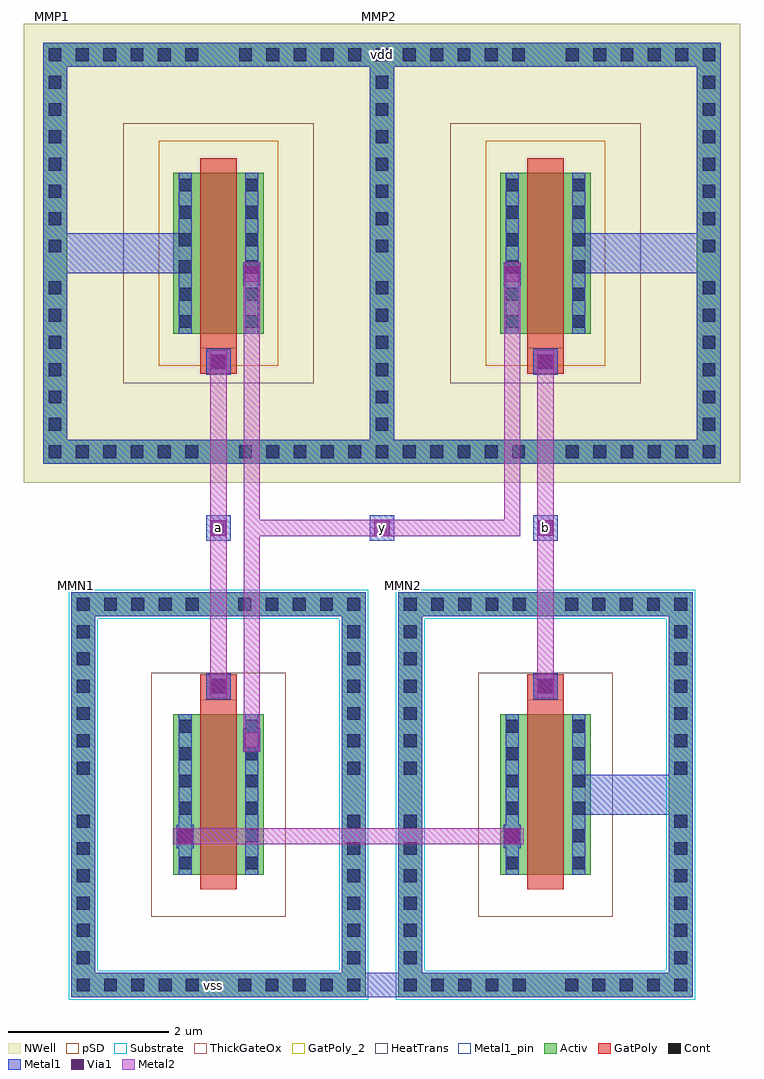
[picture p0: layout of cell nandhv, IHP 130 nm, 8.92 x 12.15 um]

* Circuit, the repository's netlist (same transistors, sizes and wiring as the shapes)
** sch_path: /foss/designs/Designs/bidir-level-shifter/xschem/logic_gates/NANDHV.sch
.subckt NANDHV a b y vdd vss
*.PININFO vdd:B vss:B y:B a:B b:B
MMP1 y a vdd vdd sg13_hv_pmos w=2.0u l=0.45u ng=1
MMP2 y b vdd vdd sg13_hv_pmos w=2.0u l=0.45u ng=1
MMN1 y a net1 vss sg13_hv_nmos w=2.0u l=0.45u ng=1
MMN2 net1 b vss vss sg13_hv_nmos w=2.0u l=0.45u ng=1
.ends

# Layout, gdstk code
import gdstk
lib = gdstk.Library(unit=1e-6, precision=1e-09)
def R(c, l, rs):  # rectangles x0, y0, x1, y1
    for r in rs: c.add(gdstk.rectangle(r[:2], r[2:], *l))
def A(c, l, x, y, w, h, nx, ny, dx, dy):  # array of equal rectangles
    R(c, l, [(x+i*dx, y+j*dy, x+i*dx+w, y+j*dy+h) for i in range(nx) for j in range(ny)])
def P(c, l, *ps):  # polygons
    for p in ps: c.add(gdstk.Polygon(p, *l))
Activ = (1, 0)
GatPoly = (5, 0)
GatPoly_2 = (5, 2)
Cont = (6, 0)
Metal1 = (8, 0)
Metal1_pin = (8, 2)
Metal2 = (10, 0)
pSD = (14, 0)
Via1 = (19, 0)
NWell = (31, 0)
Substrate = (40, 0)
ThickGateOx = (44, 0)
HeatTrans = (51, 0)

nmoshv = lib.new_cell('nmosHV')
R(nmoshv, Activ, [(-1.27,-1.22,-0.97,3.22), (2.1,-1.22,2.4,3.22), (0,0,0.3,0.3), (0,0,1.13,2), (0.83,0,1.13,0.3), (-1.27,3.22,2.4,3.52)])
P(nmoshv, Activ, [(-1.27,-1.52),(-1.27,3.22),(-0.97,3.22),(-0.97,-1.22),(2.1,-1.22),(2.1,3.22),(-1.27,3.22),(-1.27,3.52),(2.4,3.52),(2.4,-1.52)])
R(nmoshv, GatPoly, [(0.34,-0.18,0.79,2.18)])
R(nmoshv, GatPoly_2, [(0.34,-0.18,0.79,2.18)])
A(nmoshv, Cont, -1.2, -1.45, 0.16, 0.16, 5, 2, 0.34, 4.74)
A(nmoshv, Cont, 0.81, -1.45, 0.16, 0.16, 5, 2, 0.34, 4.74)
A(nmoshv, Cont, -1.2, -1.11, 0.16, 0.16, 1, 6, 0, 0.34)
A(nmoshv, Cont, 2.17, -1.11, 0.16, 0.16, 1, 6, 0, 0.34)
A(nmoshv, Cont, 0.07, 0.07, 0.16, 0.16, 1, 6, 0, 0.34)
A(nmoshv, Cont, 0.9, 0.07, 0.16, 0.16, 1, 6, 0, 0.34)
A(nmoshv, Cont, -1.2, 1.25, 0.16, 0.16, 1, 6, 0, 0.34)
A(nmoshv, Cont, 2.17, 1.25, 0.16, 0.16, 1, 6, 0, 0.34)
R(nmoshv, Metal1, [(-1.27,-1.52,2.4,-1.22), (-1.27,-1.22,-0.97,3.22), (2.1,-1.22,2.4,3.22), (0.07,0,0.23,2), (0.9,0,1.06,2), (-1.27,3.22,2.4,3.52)])
R(nmoshv, Metal1_pin, [(0.07,0,0.23,2), (0.9,0,1.06,2)])
R(nmoshv, pSD, [(-1.3,-1.19,-0.94,3.19), (2.07,-1.19,2.43,3.19), (-1.3,3.19,2.43,3.55)])
P(nmoshv, pSD, [(-1.3,-1.55),(-1.3,3.19),(-0.94,3.19),(-0.94,-1.19),(2.07,-1.19),(2.07,3.19),(-1.3,3.19),(-1.3,3.55),(2.43,3.55),(2.43,-1.55)])
R(nmoshv, Substrate, [(-1.3,-1.19,-0.94,3.19), (2.07,-1.19,2.43,3.19), (-1.3,3.19,2.43,3.55)])
P(nmoshv, Substrate, [(-1.3,-1.55),(-1.3,3.19),(-0.94,3.19),(-0.94,-1.19),(2.07,-1.19),(2.07,3.19),(-1.3,3.19),(-1.3,3.55),(2.43,3.55),(2.43,-1.55)])
R(nmoshv, ThickGateOx, [(-0.27,-0.52,1.4,2.52)])
R(nmoshv, HeatTrans, [(0.34,-0.18,0.79,2.18)])
nmoshv.add(gdstk.Label('nmosHV', (0.565,1), layer=63, texttype=0))
nmoshv.add(gdstk.Label('sub!', (0.565,-1.37), layer=63, texttype=0))
nmoshv.add(gdstk.Label('nmosHV', (0.565,1), layer=51, texttype=0))

pmoshv = lib.new_cell('pmosHV')
R(pmoshv, Activ, [(-1.62,-1.32,-1.32,3.32), (2.45,-1.32,2.75,3.32), (0,0,0.3,0.3), (0,0,1.13,2), (0.83,0,1.13,0.3), (-1.62,3.32,2.75,3.62)])
P(pmoshv, Activ, [(-1.62,-1.62),(-1.62,3.32),(-1.32,3.32),(-1.32,-1.32),(2.45,-1.32),(2.45,3.32),(-1.62,3.32),(-1.62,3.62),(2.75,3.62),(2.75,-1.62)])
R(pmoshv, GatPoly, [(0.34,-0.18,0.79,2.18)])
R(pmoshv, GatPoly_2, [(0.34,-0.18,0.79,2.18)])
A(pmoshv, Cont, -1.55, -1.55, 0.16, 0.16, 6, 2, 0.34, 4.94)
A(pmoshv, Cont, 0.82, -1.55, 0.16, 0.16, 6, 2, 0.34, 4.94)
A(pmoshv, Cont, -1.55, -1.21, 0.16, 0.16, 1, 6, 0, 0.34)
A(pmoshv, Cont, 2.52, -1.21, 0.16, 0.16, 1, 6, 0, 0.34)
A(pmoshv, Cont, 0.07, 0.07, 0.16, 0.16, 1, 6, 0, 0.34)
A(pmoshv, Cont, 0.9, 0.07, 0.16, 0.16, 1, 6, 0, 0.34)
A(pmoshv, Cont, -1.55, 1.01, 0.16, 0.16, 1, 7, 0, 0.34)
A(pmoshv, Cont, 2.52, 1.01, 0.16, 0.16, 1, 7, 0, 0.34)
R(pmoshv, Metal1, [(-1.62,-1.62,2.75,-1.32), (-1.62,-1.32,-1.32,3.32), (2.45,-1.32,2.75,3.32), (0.07,0,0.23,2), (0.9,0,1.06,2), (-1.62,3.32,2.75,3.62)])
R(pmoshv, Metal1_pin, [(0.07,0,0.23,2), (0.9,0,1.06,2)])
R(pmoshv, pSD, [(-0.18,-0.4,1.31,2.4)])
R(pmoshv, NWell, [(-1.86,-1.86,2.99,3.86), (-0.62,-0.62,1.75,2.62)])
R(pmoshv, ThickGateOx, [(-0.62,-0.62,1.75,2.62)])
R(pmoshv, HeatTrans, [(0.34,-0.18,0.79,2.18)])
pmoshv.add(gdstk.Label('pmosHV', (0.565,1), layer=63, texttype=0))
pmoshv.add(gdstk.Label('well', (0.565,-1.47), layer=63, texttype=0))
pmoshv.add(gdstk.Label('pmos', (0.565,1), layer=51, texttype=0))

nandhv = lib.new_cell('nandhv')
R(nandhv, GatPoly, [(1.96,3.7,2.41,4.02), (6.03,3.7,6.48,4.02), (1.96,7.76,2.41,8.08), (6.03,7.76,6.48,8.08)])
R(nandhv, Cont, [(2.105,3.79,2.265,3.95), (6.175,3.79,6.335,3.95), (2.105,7.83,2.265,7.99), (6.175,7.83,6.335,7.99)])
A(nandhv, Metal1, 2.035, 5.68, 0.3, 0.32, 3, 1, 2.035, 0)
R(nandhv, Metal1, [(3.87,0,4.57,0.3), (1.665,1.855,1.875,2.145), (5.735,1.855,5.945,2.145), (6.75,2.27,7.94,2.77), (2.495,3.055,2.705,3.345), (2.035,3.71,2.335,4.03), (6.105,3.71,6.405,4.03), (2.035,7.75,2.335,8.07), (6.105,7.75,6.405,8.07), (2.495,8.855,2.705,9.145), (5.735,8.855,5.945,9.145), (0.15,9.01,1.69,9.51), (6.75,9.01,8.29,9.51)])
A(nandhv, Metal1_pin, 2.12, 5.775, 0.13, 0.13, 3, 1, 2.035, 0)
R(nandhv, Metal1_pin, [(2.055,0.085,2.185,0.215), (4.155,11.665,4.285,11.795)])
R(nandhv, Metal2, [(1.625,1.9,5.985,2.1), (2.5,3.055,2.7,9.145), (2.085,3.725,2.285,8.055), (6.155,3.725,6.355,8.055), (2.5,5.74,5.94,5.94), (5.74,5.74,5.94,9.145)])
A(nandhv, Via1, 2.09, 5.745, 0.19, 0.19, 3, 1, 2.035, 0)
R(nandhv, Via1, [(1.675,1.905,1.865,2.095), (5.745,1.905,5.935,2.095), (2.505,3.105,2.695,3.295), (2.09,3.775,2.28,3.965), (6.16,3.775,6.35,3.965), (2.09,7.815,2.28,8.005), (6.16,7.815,6.35,8.005), (2.505,8.905,2.695,9.095), (5.745,8.905,5.935,9.095)])
nandhv.add(gdstk.Reference(nmoshv, (1.62,1.52)))
nandhv.add(gdstk.Reference(nmoshv, (5.69,1.52)))
nandhv.add(gdstk.Reference(pmoshv, (1.62,8.26)))
nandhv.add(gdstk.Reference(pmoshv, (5.69,8.26)))
nandhv.add(gdstk.Label('MMN1', (0.42,5.12), layer=63, texttype=0))
nandhv.add(gdstk.Label('MMN2', (4.49,5.12), layer=63, texttype=0))
nandhv.add(gdstk.Label('MMP1', (0.12,12.21), layer=63, texttype=0))
nandhv.add(gdstk.Label('MMP2', (4.19,12.21), layer=63, texttype=0))
nandhv.add(gdstk.Label('a', (2.185,5.84), layer=8, texttype=25))
nandhv.add(gdstk.Label('b', (6.255,5.84), layer=8, texttype=25))
nandhv.add(gdstk.Label('y', (4.22,5.84), layer=8, texttype=25))
nandhv.add(gdstk.Label('vdd', (4.22,11.73), layer=8, texttype=25))
nandhv.add(gdstk.Label('vss', (2.12,0.15), layer=8, texttype=25))

lib.write_gds('nandhv.gds')
